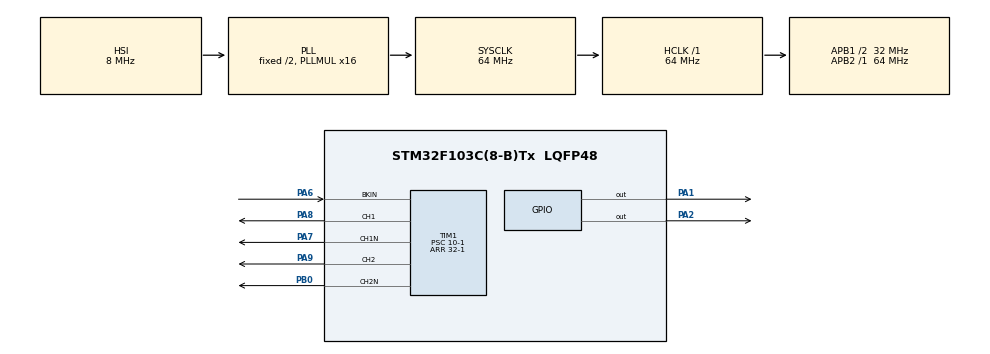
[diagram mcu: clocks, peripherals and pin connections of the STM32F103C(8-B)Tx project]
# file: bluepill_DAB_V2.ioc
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Mcu.Family=STM32F1
Mcu.Name=STM32F103C(8-B)Tx
Mcu.Package=LQFP48
NVIC.PriorityGroup=NVIC_PRIORITYGROUP_4
NVIC.TIM1_BRK_IRQn=true\:0\:0\:false\:false\:true\:true\:true\:true
PA1.Signal=GPIO_Output
PA13.Mode=Serial_Wire
PA13.Signal=SYS_JTMS-SWDIO
PA14.Mode=Serial_Wire
PA14.Signal=SYS_JTCK-SWCLK
PA2.Signal=GPIO_Output
PA6.Mode=Activate-Break-Input
PA6.Signal=TIM1_BKIN
PA7.Mode=Output Compare1 CH1 CH1N
PA7.Signal=TIM1_CH1N
PA8.Signal=S_TIM1_CH1
PA9.Signal=S_TIM1_CH2
PB0.Mode=Output Compare2 CH2 CH2N
PB0.Signal=TIM1_CH2N
PD0-OSC_IN.Mode=HSE-External-Oscillator
PD0-OSC_IN.Signal=RCC_OSC_IN
PD1-OSC_OUT.Mode=HSE-External-Oscillator
PD1-OSC_OUT.Signal=RCC_OSC_OUT
ProjectManager.HeapSize=0x200
ProjectManager.StackSize=0x400
ProjectManager.TargetToolchain=STM32CubeIDE
RCC.AHBFreq_Value=64000000
RCC.APB1CLKDivider=RCC_HCLK_DIV2
RCC.APB1Freq_Value=32000000
RCC.APB1TimFreq_Value=64000000
RCC.APB2Freq_Value=64000000
RCC.APB2TimFreq_Value=64000000
RCC.HCLKFreq_Value=64000000
RCC.PLLMUL=RCC_PLL_MUL16
RCC.SYSCLKFreq_VALUE=64000000
RCC.SYSCLKSource=RCC_SYSCLKSOURCE_PLLCLK
RCC.USBFreq_Value=64000000
SH.S_TIM1_CH1.0=TIM1_CH1,Output Compare1 CH1 CH1N
SH.S_TIM1_CH2.0=TIM1_CH2,Output Compare2 CH2 CH2N
TIM1.AutoReloadPreload=TIM_AUTORELOAD_PRELOAD_ENABLE
TIM1.AutomaticOutput=TIM_AUTOMATICOUTPUT_ENABLE
TIM1.BreakPolarity=TIM_BREAKPOLARITY_LOW
TIM1.Channel-Output\ Compare1\ CH1\ CH1N=TIM_CHANNEL_1
TIM1.Channel-Output\ Compare2\ CH2\ CH2N=TIM_CHANNEL_2
TIM1.DeadTime=20
TIM1.OC1Preload=ENABLE
TIM1.OC2Preload=ENABLE
TIM1.OCMode_1=TIM_OCMODE_TOGGLE
TIM1.OCMode_2=TIM_OCMODE_TOGGLE
TIM1.OCNPolarity_1=TIM_OCNPOLARITY_LOW
TIM1.OCPolarity_1=TIM_OCPOLARITY_LOW
TIM1.Period=32-1
TIM1.Prescaler=10-1
TIM1.Pulse-Output\ Compare1\ CH1\ CH1N=1
TIM1.Pulse-Output\ Compare2\ CH2\ CH2N=1
VP_TIM1_VS_ClockSourceINT.Mode=Internal
board=custom

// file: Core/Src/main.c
/* USER CODE BEGIN Header */
/**
  ******************************************************************************
  * @file           : main.c
  * @brief          : Main program body
  ******************************************************************************
  * @attention
  *
  * Copyright (c) 2022 STMicroelectronics.
  * All rights reserved.
  *
  * This software is licensed under terms that can be found in the LICENSE file
  * in the root directory of this software component.
  * If no LICENSE file comes with this software, it is provided AS-IS.
  *
  ******************************************************************************
  */
/* USER CODE END Header */
#include "main.h"

TIM_HandleTypeDef htim1;

void SystemClock_Config(void);
static void MX_GPIO_Init(void);
static void MX_TIM1_Init(void);

/* USER CODE BEGIN 0 */
uint16_t pulse_value =0;
uint8_t break_falg =0;
uint16_t dead_value =0;
float phase_delay =90;
uint16_t arr_val =32;

//Æô¶¯Êä³öPWM²š
void startPWM(void)
{
	HAL_TIM_OC_Start(&htim1,TIM_CHANNEL_1);			//OC1			enable
	HAL_TIMEx_OCN_Start(&htim1,TIM_CHANNEL_1);	//OC1N		enable

	HAL_TIM_OC_Start(&htim1,TIM_CHANNEL_2);			//OC2			enable
	HAL_TIMEx_OCN_Start(&htim1,TIM_CHANNEL_2);	//OC2N		enable

}

//�?£Ö¹Êä³öPWM²š
void stopPWM(void)
{
	HAL_TIM_OC_Stop(&htim1,TIM_CHANNEL_1);
	HAL_TIMEx_OCN_Stop(&htim1,TIM_CHANNEL_1);

	HAL_TIM_OC_Stop(&htim1,TIM_CHANNEL_2);		//stop pwm output	or user function
	HAL_TIMEx_OCN_Stop(&htim1,TIM_CHANNEL_2);

}

void phaseTOcount()
{
	pulse_value= (phase_delay* 0.00277)* arr_val* 2;
}

//ÉèÖÃ�?šµÀ3Ž¥·¢Ê±Œä£¬ŒŽÊÇ�?ÞžÄÒÆ�?à
void pulsePWM(uint16_t pulse)
{
	phaseTOcount();

	__HAL_TIM_SET_COMPARE(&htim1, TIM_CHANNEL_1, pulse);
}

//�?ÞžÄËÀÇøÊ±Œä
void deadTimePWM(uint16_t dtime)
{
	/* Set TIMx_BDTR	->	DTG data	*/
	TIM1->BDTR &= 0xFF00;							//clear	DTG data
	TIM1->BDTR |= (dtime & 0x00FF);		//set	DTG data
}
/* USER CODE END 0 */

int main(void)
{

  /* MCU Configuration--------------------------------------------------------*/

  /* Reset of all peripherals, Initializes the Flash interface and the Systick. */
  HAL_Init();

  /* Configure the system clock */
  SystemClock_Config();

  /* Initialize all configured peripherals */
  MX_GPIO_Init();
  MX_TIM1_Init();
  /* USER CODE BEGIN 2 */
  __HAL_TIM_ENABLE(&htim1);										//TIM1		enable

  	startPWM();

  	__HAL_TIM_ENABLE_IT(&htim1, TIM_IT_BREAK);	//break interrupt enable

  	HAL_GPIO_WritePin(GPIOA, GPIO_PIN_1, GPIO_PIN_SET);
  	HAL_GPIO_WritePin(GPIOA, GPIO_PIN_2, GPIO_PIN_SET);

  /* USER CODE END 2 */

  /* Infinite loop */
  while (1)
  {

    /* USER CODE BEGIN 3 */
		pulsePWM(pulse_value);	//user function set

			deadTimePWM(dead_value);

			if(break_falg == 1)			//user function set
			{
				break_falg = 0;				//clear falg
				startPWM();
			}

  }
  /* USER CODE END 3 */
}

void SystemClock_Config(void)
{
  RCC_OscInitTypeDef RCC_OscInitStruct = {0};
  RCC_ClkInitTypeDef RCC_ClkInitStruct = {0};

  /** Initializes the RCC Oscillators according to the specified parameters
  * in the RCC_OscInitTypeDef structure.
  */
  RCC_OscInitStruct.OscillatorType = RCC_OSCILLATORTYPE_HSI;
  RCC_OscInitStruct.HSIState = RCC_HSI_ON;
  RCC_OscInitStruct.HSICalibrationValue = RCC_HSICALIBRATION_DEFAULT;
  RCC_OscInitStruct.PLL.PLLState = RCC_PLL_ON;
  RCC_OscInitStruct.PLL.PLLSource = RCC_PLLSOURCE_HSI_DIV2;
  RCC_OscInitStruct.PLL.PLLMUL = RCC_PLL_MUL16;
  if (HAL_RCC_OscConfig(&RCC_OscInitStruct) != HAL_OK)
  {
    Error_Handler();
  }

  /** Initializes the CPU, AHB and APB buses clocks
  */
  RCC_ClkInitStruct.ClockType = RCC_CLOCKTYPE_HCLK|RCC_CLOCKTYPE_SYSCLK
                              |RCC_CLOCKTYPE_PCLK1|RCC_CLOCKTYPE_PCLK2;
  RCC_ClkInitStruct.SYSCLKSource = RCC_SYSCLKSOURCE_PLLCLK;
  RCC_ClkInitStruct.AHBCLKDivider = RCC_SYSCLK_DIV1;
  RCC_ClkInitStruct.APB1CLKDivider = RCC_HCLK_DIV2;
  RCC_ClkInitStruct.APB2CLKDivider = RCC_HCLK_DIV1;

  if (HAL_RCC_ClockConfig(&RCC_ClkInitStruct, FLASH_LATENCY_2) != HAL_OK)
  {
    Error_Handler();
  }
}

static void MX_TIM1_Init(void)
{

  TIM_ClockConfigTypeDef sClockSourceConfig = {0};
  TIM_MasterConfigTypeDef sMasterConfig = {0};
  TIM_OC_InitTypeDef sConfigOC = {0};
  TIM_BreakDeadTimeConfigTypeDef sBreakDeadTimeConfig = {0};

  htim1.Instance = TIM1;
  htim1.Init.Prescaler = 10-1;
  htim1.Init.CounterMode = TIM_COUNTERMODE_UP;
  htim1.Init.Period = 32-1;
  htim1.Init.ClockDivision = TIM_CLOCKDIVISION_DIV1;
  htim1.Init.RepetitionCounter = 0;
  htim1.Init.AutoReloadPreload = TIM_AUTORELOAD_PRELOAD_ENABLE;
  if (HAL_TIM_Base_Init(&htim1) != HAL_OK)
  {
    Error_Handler();
  }
  sClockSourceConfig.ClockSource = TIM_CLOCKSOURCE_INTERNAL;
  if (HAL_TIM_ConfigClockSource(&htim1, &sClockSourceConfig) != HAL_OK)
  {
    Error_Handler();
  }
  if (HAL_TIM_OC_Init(&htim1) != HAL_OK)
  {
    Error_Handler();
  }
  sMasterConfig.MasterOutputTrigger = TIM_TRGO_RESET;
  sMasterConfig.MasterSlaveMode = TIM_MASTERSLAVEMODE_DISABLE;
  if (HAL_TIMEx_MasterConfigSynchronization(&htim1, &sMasterConfig) != HAL_OK)
  {
    Error_Handler();
  }
  sConfigOC.OCMode = TIM_OCMODE_TOGGLE;
  sConfigOC.Pulse = 1;
  sConfigOC.OCPolarity = TIM_OCPOLARITY_LOW;
  sConfigOC.OCNPolarity = TIM_OCNPOLARITY_LOW;
  sConfigOC.OCFastMode = TIM_OCFAST_DISABLE;
  sConfigOC.OCIdleState = TIM_OCIDLESTATE_RESET;
  sConfigOC.OCNIdleState = TIM_OCNIDLESTATE_RESET;
  if (HAL_TIM_OC_ConfigChannel(&htim1, &sConfigOC, TIM_CHANNEL_1) != HAL_OK)
  {
    Error_Handler();
  }
  __HAL_TIM_ENABLE_OCxPRELOAD(&htim1, TIM_CHANNEL_1);
  sConfigOC.OCPolarity = TIM_OCPOLARITY_HIGH;
  sConfigOC.OCNPolarity = TIM_OCNPOLARITY_HIGH;
  if (HAL_TIM_OC_ConfigChannel(&htim1, &sConfigOC, TIM_CHANNEL_2) != HAL_OK)
  {
    Error_Handler();
  }
  __HAL_TIM_ENABLE_OCxPRELOAD(&htim1, TIM_CHANNEL_2);
  sBreakDeadTimeConfig.OffStateRunMode = TIM_OSSR_DISABLE;
  sBreakDeadTimeConfig.OffStateIDLEMode = TIM_OSSI_DISABLE;
  sBreakDeadTimeConfig.LockLevel = TIM_LOCKLEVEL_OFF;
  sBreakDeadTimeConfig.DeadTime = 50;
  sBreakDeadTimeConfig.BreakState = TIM_BREAK_ENABLE;
  sBreakDeadTimeConfig.BreakPolarity = TIM_BREAKPOLARITY_LOW;
  sBreakDeadTimeConfig.AutomaticOutput = TIM_AUTOMATICOUTPUT_ENABLE;
  if (HAL_TIMEx_ConfigBreakDeadTime(&htim1, &sBreakDeadTimeConfig) != HAL_OK)
  {
    Error_Handler();
  }
  HAL_TIM_MspPostInit(&htim1);

}

static void MX_GPIO_Init(void)
{
  GPIO_InitTypeDef GPIO_InitStruct = {0};

  /* GPIO Ports Clock Enable */
  __HAL_RCC_GPIOD_CLK_ENABLE();
  __HAL_RCC_GPIOA_CLK_ENABLE();
  __HAL_RCC_GPIOB_CLK_ENABLE();

  /*Configure GPIO pin Output Level */
  HAL_GPIO_WritePin(GPIOA, GPIO_PIN_1|GPIO_PIN_2, GPIO_PIN_RESET);

  /*Configure GPIO pins : PA1 PA2 */
  GPIO_InitStruct.Pin = GPIO_PIN_1|GPIO_PIN_2;
  GPIO_InitStruct.Mode = GPIO_MODE_OUTPUT_PP;
  GPIO_InitStruct.Pull = GPIO_NOPULL;
  GPIO_InitStruct.Speed = GPIO_SPEED_FREQ_LOW;
  HAL_GPIO_Init(GPIOA, &GPIO_InitStruct);

}

void Error_Handler(void)
{
  __disable_irq();
  while (1)
  {
  }
}
